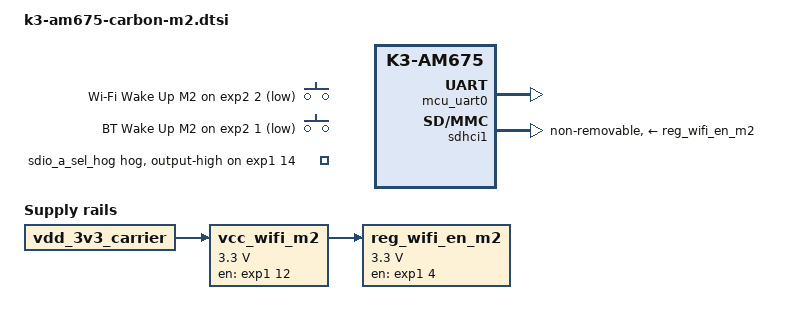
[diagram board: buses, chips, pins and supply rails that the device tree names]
// SPDX-License-Identifier: GPL-2.0
/*
 * M.2 SDIO Wi-Fi common functions
 *
 * Copyright (C) 2025 Ezurio LLC
 */

#include <dt-bindings/interrupt-controller/irq.h>
#include <dt-bindings/gpio/gpio.h>
#include <dt-bindings/input/input.h>

&{/} {
	vcc_wifi_m2: regulator-wifi-m2 {
		compatible = "regulator-fixed";
		regulator-name = "vcc_wifi_m2";
		regulator-min-microvolt = <3300000>;
		regulator-max-microvolt = <3300000>;

		vin-supply = <&vdd_3v3_carrier>;

		gpios = <&exp1 12 GPIO_ACTIVE_HIGH>;  /* M2_POWER_EN */
		enable-active-high;

		regulator-always-on;
	};

	reg_wifi_en_m2: regulator-wifi-en-m2 {
		compatible = "regulator-fixed";

		regulator-name = "reg_wifi_en_m2";
		regulator-min-microvolt = <3300000>;
		regulator-max-microvolt = <3300000>;

		vin-supply = <&vcc_wifi_m2>;

		gpios = <&exp1 4 GPIO_ACTIVE_HIGH>;   /* M2_WDISABLE1# */
		enable-active-high;

		startup-delay-us = <250000>;
		off-on-delay-us = <100>;
	};

	wifi_wakeup_m2: wifi_wakeup_m2 {
		compatible = "gpio-keys";

		wifi-wake-up-m2 {
			label = "Wi-Fi Wake Up M2";
			gpios = <&exp2 2 (GPIO_ACTIVE_LOW | GPIO_PULL_UP)>;
			linux,code = <KEY_WAKEUP>;
			wakeup-event-action = <EV_ACT_ASSERTED>;
			wakeup-source;
		};

		bt-wake-up-m2 {
			label = "BT Wake Up M2";
			gpios = <&exp2 1 (GPIO_ACTIVE_LOW | GPIO_PULL_UP)>;
			linux,code = <KEY_WAKEUP>;
			wakeup-event-action = <EV_ACT_ASSERTED>;
			wakeup-source;
		};
	};
};

&exp2 {
	wakeup-source;
};

&mcu_uart0 {
	status = "okay";

	uart-has-rtscts;
};

#ifndef M2_PCIE
&exp1 {
	sdio_a_sel_hog {
		gpio-hog;
		output-high;
		gpios = <14 GPIO_ACTIVE_HIGH>;
	};
};

&sdhci1 { /* SDIO_A uSD / M.2_SDIO */
	status = "okay";

	vmmc-supply = <&reg_wifi_en_m2>;
	vqmmc-supply = <&vdd_1v8_carrier>;

	non-removable;
	ti,fails-without-test-cd;
	keep-power-in-suspend;
};
#endif
